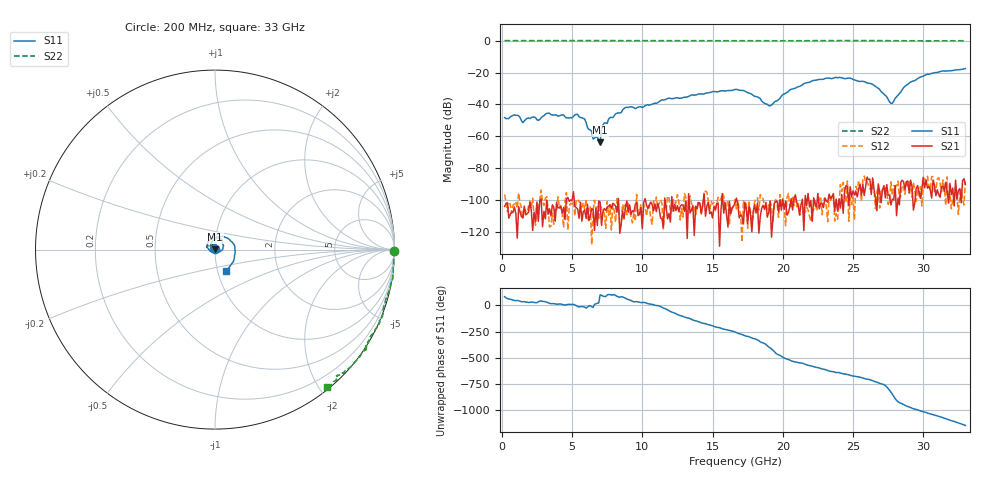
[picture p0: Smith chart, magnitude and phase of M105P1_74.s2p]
# GHZ S RI R 50
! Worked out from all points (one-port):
!   329 points, 200 MHz to 33 GHz, reference 50 ohm
!   lowest |S11| = -63.7 dB at 7 GHz (marker M1), VSWR 1.00, Z = 50 + j0.0646 ohm
!   |S11| at or under -10 dB: start of sweep to end of sweep
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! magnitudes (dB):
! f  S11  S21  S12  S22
! 200 MHz  -48.3  -103.9  -96.5  0.0
! 1.2 GHz  -47.0  -104.1  -95.5  0.0
! 1.5 GHz  -51.4  -111.0  -111.6  0.0
! 3.3 GHz  -45.5  -108.9  -106.0  0.0
! 5.7 GHz  -48.4  -113.2  -104.4  0.0
! 6.4 GHz  -56.7  -105.3  -127.9  0.0
! 6.5 GHz  -61.6  -105.9  -106.1  0.0
! 7 GHz  -63.7  -101.2  -102.5  0.0
! 7.1 GHz  -55.3  -115.9  -106.0  0.0
! 7.2 GHz  -53.0  -107.1  -105.9  0.0
! 7.7 GHz  -48.3  -102.9  -102.9  0.0
! 8.8 GHz  -42.0  -104.6  -102.7  0.0
! 11.2 GHz  -38.3  -105.3  -102.0  -0.1
! 16.6 GHz  -30.6  -101.8  -99.7  0.0
! 19.1 GHz  -40.9  -100.6  -100.7  0.0
! 20.5 GHz  -30.9  -104.3  -103.8  -0.1
! 22.1 GHz  -25.2  -113.3  -106.3  0.0
! 25.8 GHz  -25.7  -97.0  -84.9  0.0
! 26.8 GHz  -29.9  -89.8  -92.0  0.0
! 27.6 GHz  -38.4  -97.1  -100.6  0.0
! 29.8 GHz  -22.9  -98.8  -91.5  -0.1
! 33 GHz  -17.6  -90.3  -88.3  -0.1
